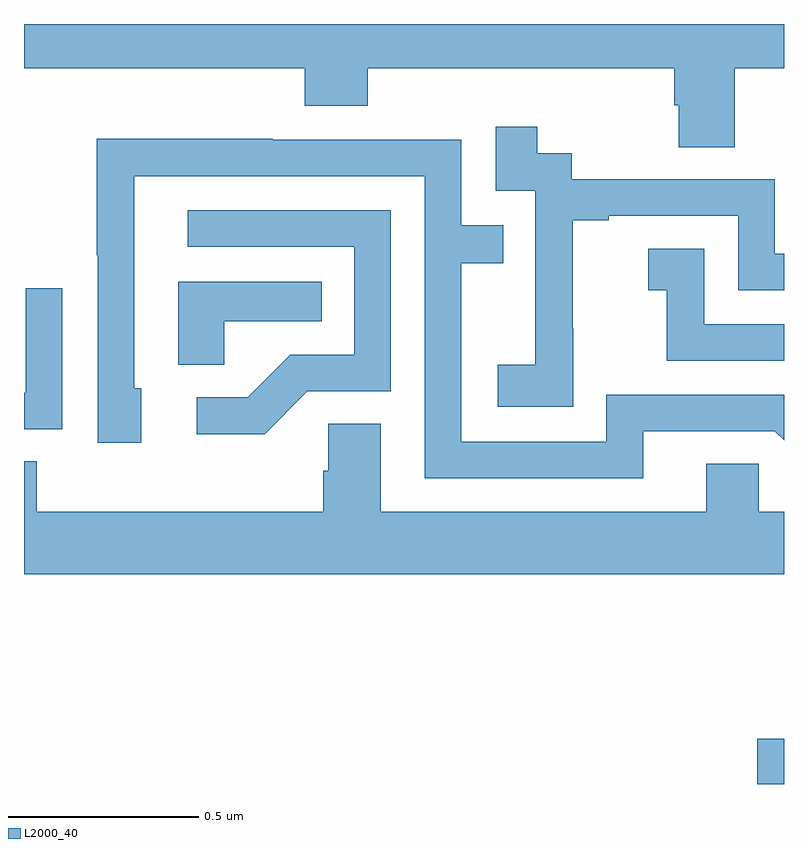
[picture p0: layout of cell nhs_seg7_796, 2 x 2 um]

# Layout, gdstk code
import gdstk
lib = gdstk.Library(unit=1e-6, precision=1e-09)
def R(c, l, rs):  # rectangles x0, y0, x1, y1
    for r in rs: c.add(gdstk.rectangle(r[:2], r[2:], *l))
def P(c, l, *ps):  # polygons
    for p in ps: c.add(gdstk.Polygon(p, *l))
L2000_40 = (2000, 40)

nhs_seg7_796 = lib.new_cell('nhs_seg7_796')
R(nhs_seg7_796, L2000_40, [(122.93,1064,123,1064.119)])
P(nhs_seg7_796, L2000_40, [(122.871,1065.884),(123,1065.884),(123,1066),(121,1066),(121,1065.884),(121.739,1065.884),(121.739,1065.785),(121.904,1065.785),(121.904,1065.884),(122.711,1065.884),(122.711,1065.786),(122.723,1065.786),(122.723,1065.676),(122.871,1065.676)],
  [(122.445,1065.199),(122.444,1065.199),(122.444,1065.483),(122.539,1065.483),(122.539,1065.495),(122.88,1065.495),(122.88,1065.3),(123,1065.3),(123,1065.396),(122.976,1065.396),(122.976,1065.591),(122.442,1065.591),(122.442,1065.66),(122.35,1065.66),(122.35,1065.73),(122.241,1065.73),(122.241,1065.561),(122.346,1065.561),(122.346,1065.332),(122.345,1065.332),(122.345,1065.103),(122.247,1065.103),(122.247,1064.993),(122.445,1064.993)],
  [(122.629,1064.928),(122.976,1064.928),(123,1064.904),(123,1065.024),(122.532,1065.024),(122.532,1064.901),(122.151,1064.901),(122.151,1065.37),(122.261,1065.37),(122.261,1065.471),(122.151,1065.471),(122.151,1065.696),(121.655,1065.696),(121.655,1065.698),(121.192,1065.698),(121.192,1065.391),(121.194,1065.391),(121.194,1064.898),(121.309,1064.898),(121.309,1065.042),(121.29,1065.042),(121.29,1065.6),(122.055,1065.6),(122.055,1064.805),(122.629,1064.805)],
  [(121.746,1065.033),(121.965,1065.033),(121.965,1065.51),(121.431,1065.51),(121.431,1065.414),(121.869,1065.414),(121.869,1065.129),(121.7,1065.129),(121.589,1065.018),(121.455,1065.018),(121.455,1064.921),(121.633,1064.921)],
  [(123,1065.21),(122.79,1065.21),(122.79,1065.409),(122.643,1065.409),(122.643,1065.299),(122.692,1065.299),(122.692,1065.114),(123,1065.114)],
  [(121.527,1065.218),(121.784,1065.218),(121.784,1065.322),(121.406,1065.322),(121.406,1065.103),(121.527,1065.103)],
  [(121.101,1065.304),(121.005,1065.304),(121.005,1065.03),(121,1065.03),(121,1064.934),(121.101,1064.934)],
  [(123,1064.716),(122.934,1064.716),(122.934,1064.843),(122.795,1064.843),(122.795,1064.716),(121.939,1064.716),(121.939,1064.948),(121.8,1064.948),(121.8,1064.825),(121.787,1064.825),(121.787,1064.716),(121.034,1064.716),(121.034,1064.849),(121,1064.849),(121,1064.552),(123,1064.552)])

lib.write_gds('nhs_seg7_796.gds')
